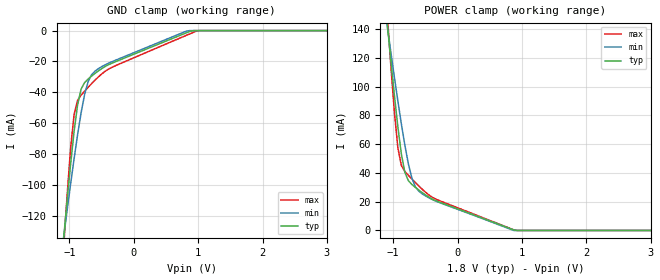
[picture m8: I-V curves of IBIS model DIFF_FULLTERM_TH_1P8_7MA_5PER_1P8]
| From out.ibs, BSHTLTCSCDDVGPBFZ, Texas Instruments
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|   Model Cell DIFF_FULLTERM_TH_1P8_7MA_5PER_1P8
|DIFF_FULLTERM_TH_1P8_7MA_5PER_1P8
[Model]   DIFF_FULLTERM_TH_1P8_7MA_5PER_1P8
Model_type   Input
Polarity   Non-Inverting
Vinl =  0.77
Vinh =  1.12
C_comp   1.5249p   1.4275p   1.6205p
|[Input load] diff_halfterm_7mA
|[Nom VDDS voltage] 1.8V
|[Output drive] NA
|[supplytol] 5
|[temp] ind
[Model Spec]
Vinl   0.77   0.77   0.77
Vinh   1.12   1.12   1.12
D_overshoot_high 2.34 2.34 2.34
D_overshoot_low -0.3 -0.3 -0.3
D_overshoot_time 1E-9 1E-9 1E-9
S_overshoot_high 1.65 1.65 1.65
S_overshoot_low 0 0 0
[Temperature Range]   25   125   -40
[Voltage Range]   1.8001   1.71   1.89
| Nom Voltages:
|   BIAS2=0.9, BIASFET=1.8, VDD=1, VDDS=1.8001, BUS_BIAS1=0, BUS_BIAS3=0,
|   VSS=0, VSSS=0
| Min Voltages:
|   BIAS2=0.855, BIASFET=1.71, VDD=0.9, VDDS=1.71, BUS_BIAS1=0,
|   BUS_BIAS3=0, VSS=0, VSSS=0
| Max Voltages:
|   BIAS2=0.945, BIASFET=1.89, VDD=1.1, VDDS=1.89, BUS_BIAS1=0,
|   BUS_BIAS3=0, VSS=0, VSSS=0
[POWER_clamp]
|   voltage   I(typ)   I(min)   I(max)
-1.8V     495.1mA    383.1mA    658.5mA
-1.091V   143.7mA    141.8mA    150.1mA
-1.036V   118.6mA    124.2mA    115mA
-981.9mV  94.58mA    107mA      82.96mA
-927.3mV  72.33mA    90.25mA    57.75mA
-872.8mV  53.33mA    74.23mA    45.22mA
-818.2mV  40.47mA    59.38mA    41.1mA
-709.1mV  32.01mA    36.41mA    35.83mA
-654.6mV  29.98mA    30.35mA    33.33mA
-490.9mV  24.53mA    23.88mA    26.38mA
927.3mV   0A         0A         0A
3.6V      0A         0A         0A
[GND_clamp]
|   voltage   I(typ)   I(min)   I(max)
-1.8V     -486.8mA   -376.5mA   -649.5mA
-1.091V   -135mA     -134.2mA   -141.5mA
-1.036V   -110.2mA   -116.6mA   -107.1mA
-981.9mV  -86.7mA    -99.48mA   -76.44mA
-927.3mV  -65.33mA   -82.97mA   -54.29mA
-872.8mV  -48.09mA   -67.35mA   -45.11mA
-818.2mV  -37.83mA   -53.17mA   -41.75mA
-709.1mV  -31.33mA   -33.03mA   -36.69mA
-490.9mV  -24.4mA    -23.18mA   -27.83mA
818.2mV   -1.436mA   -312.1uA   -3.067mA
981.9mV   0A         0A         -173.9uA
3.6V      0A         0A         0A
